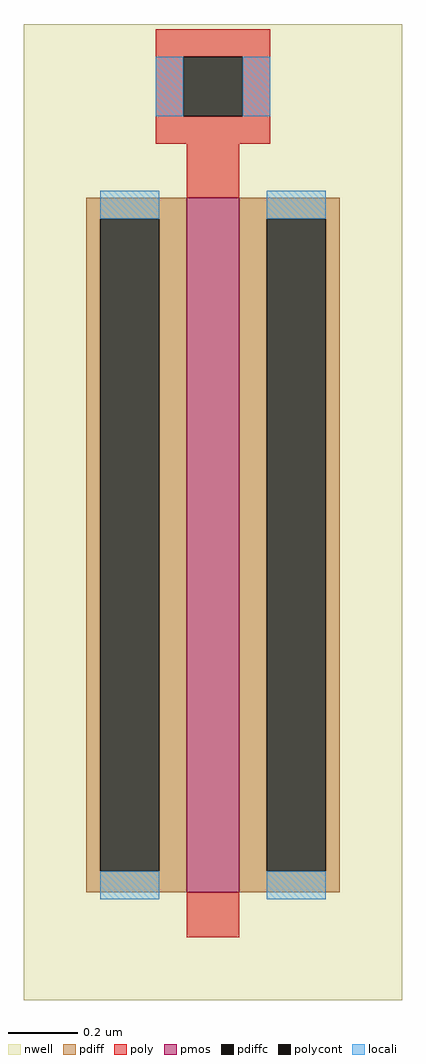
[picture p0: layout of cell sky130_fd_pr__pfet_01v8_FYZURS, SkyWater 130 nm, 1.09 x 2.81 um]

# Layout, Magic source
magic
tech sky130A
magscale 1 2
<< nwell >>
rect -109 -298 109 264
<< pmos >>
rect -15 -236 15 164
<< pdiff >>
rect -73 152 -15 164
rect -73 -224 -65 152
rect -31 -224 -15 152
rect -73 -236 -15 -224
rect 15 152 73 164
rect 15 -224 31 152
rect 65 -224 73 152
rect 15 -236 73 -224
<< pdiffc >>
rect -65 -224 -31 152
rect 31 -224 65 152
<< poly >>
rect -33 245 33 261
rect -33 211 -17 245
rect 17 211 33 245
rect -33 195 33 211
rect -15 164 15 195
rect -15 -262 15 -236
<< polycont >>
rect -17 211 17 245
<< locali >>
rect -33 211 -17 245
rect 17 211 33 245
rect -65 152 -31 168
rect -65 -240 -31 -224
rect 31 152 65 168
rect 31 -240 65 -224
<< properties >>
string gencell sky130_fd_pr__pfet_01v8
string parameters w 2 l 0.15 m 1 nf 1 diffcov 100 polycov 100 guard 0 glc 0 grc 0 gtc 0 gbc 0 tbcov 100 rlcov 100 topc 1 botc 0 poverlap 0 doverlap 1 lmin 0.15 wmin 0.42 compatible {sky130_fd_pr__pfet_01v8  sky130_fd_pr__pfet_01v8_lvt sky130_fd_pr__pfet_01v8_hvt  sky130_fd_pr__pfet_g5v0d10v5} full_metal 0 viasrc 40 viadrn 40 viagate 100 viagb 0 viagr 0 viagl 0 viagt 80
string library sky130
<< end >>
